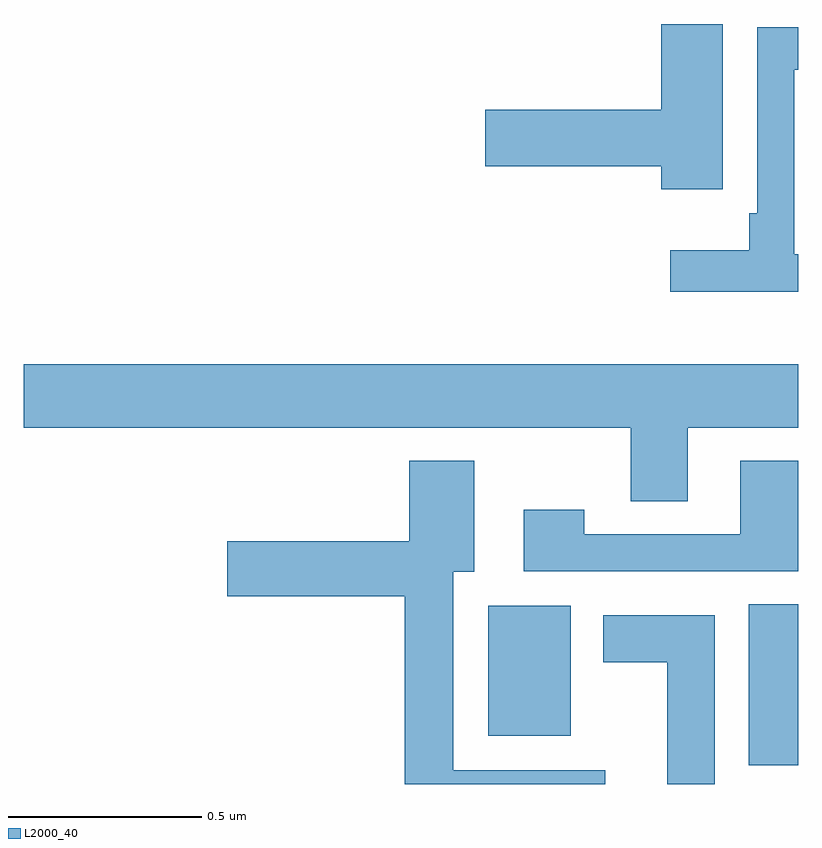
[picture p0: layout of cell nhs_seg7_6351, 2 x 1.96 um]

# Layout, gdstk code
import gdstk
lib = gdstk.Library(unit=1e-6, precision=1e-09)
def R(c, l, rs):  # rectangles x0, y0, x1, y1
    for r in rs: c.add(gdstk.rectangle(r[:2], r[2:], *l))
def P(c, l, *ps):  # polygons
    for p in ps: c.add(gdstk.Polygon(p, *l))
L2000_40 = (2000, 40)

nhs_seg7_6351 = lib.new_cell('nhs_seg7_6351')
R(nhs_seg7_6351, L2000_40, [(198.872,1029.049,199,1029.464), (198.2,1029.125,198.412,1029.46)])
P(nhs_seg7_6351, L2000_40, [(198.805,1030.963),(198.647,1030.963),(198.647,1030.742),(198.192,1030.742),(198.192,1030.595),(198.647,1030.595),(198.647,1030.536),(198.805,1030.536)],
  [(199,1030.368),(198.99,1030.368),(198.99,1030.845),(199,1030.845),(199,1030.954),(198.894,1030.954),(198.894,1030.474),(198.874,1030.474),(198.874,1030.378),(198.669,1030.378),(198.669,1030.271),(199,1030.271)],
  [(198.715,1029.92),(199,1029.92),(199,1030.084),(197,1030.084),(197,1029.92),(198.568,1029.92),(198.568,1029.73),(198.715,1029.73)],
  [(198.502,1029.036),(198.109,1029.036),(198.109,1029.548),(198.163,1029.548),(198.163,1029.835),(197.996,1029.835),(197.996,1029.627),(197.526,1029.627),(197.526,1029.485),(197.984,1029.485),(197.984,1029),(198.502,1029)],
  [(199,1029.835),(198.851,1029.835),(198.851,1029.645),(198.447,1029.645),(198.447,1029.709),(198.291,1029.709),(198.291,1029.549),(199,1029.549)],
  [(198.784,1029.436),(198.497,1029.436),(198.497,1029.314),(198.662,1029.314),(198.662,1029),(198.784,1029)])

lib.write_gds('nhs_seg7_6351.gds')
